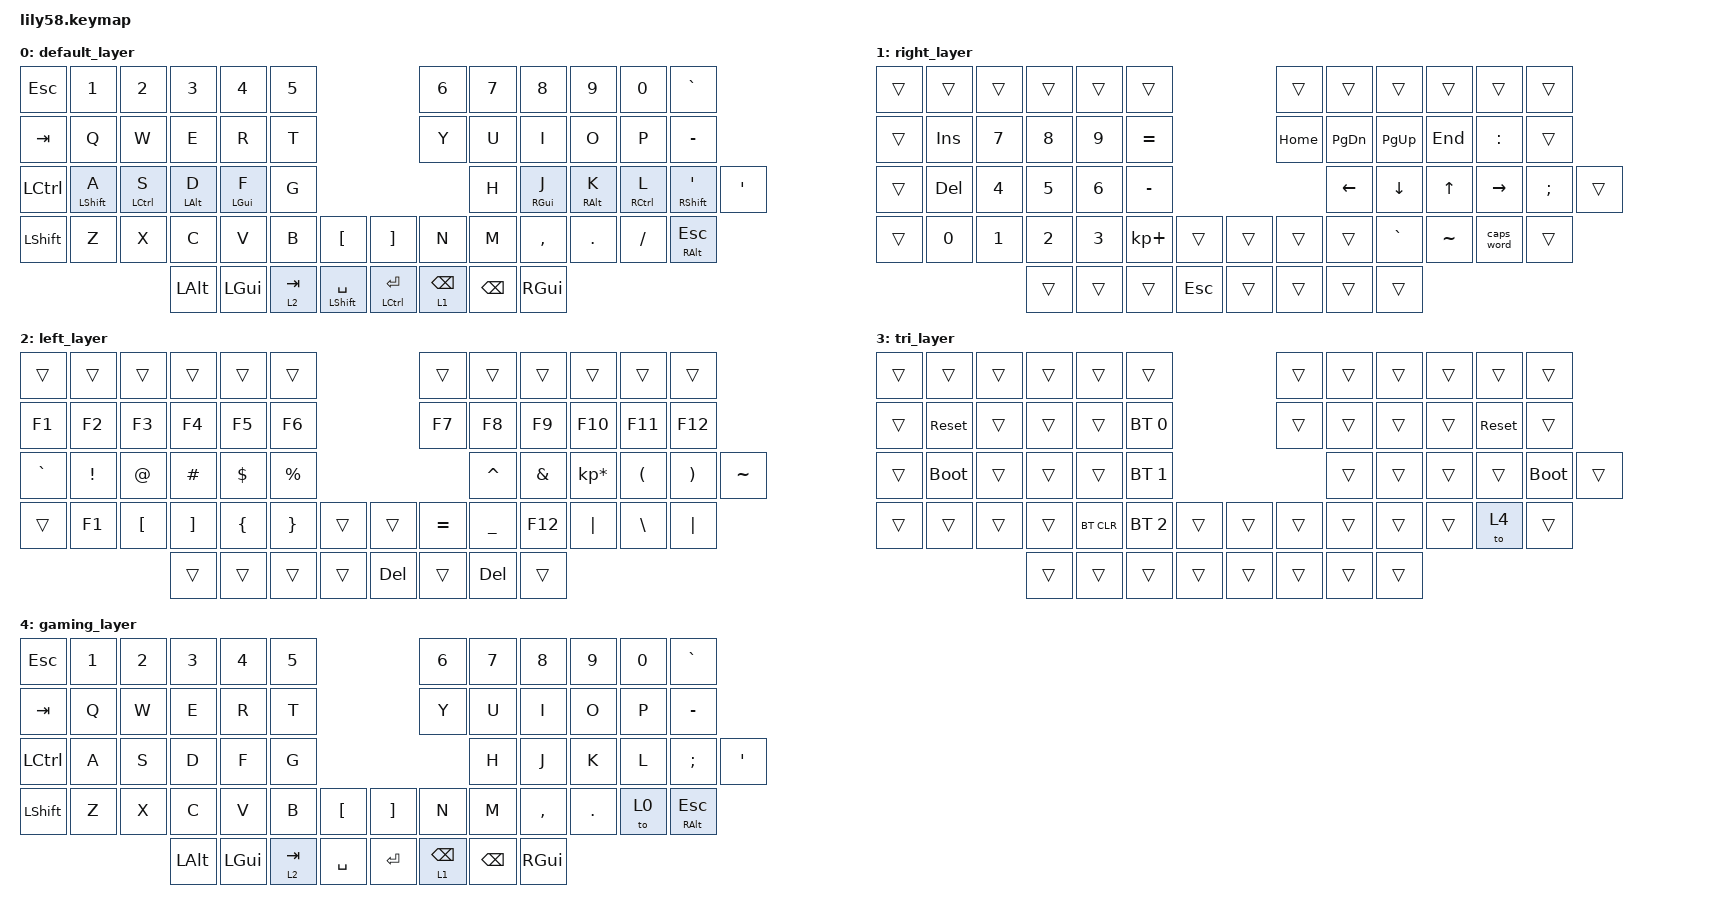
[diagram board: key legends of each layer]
/*
 * Copyright (c) 2020 The ZMK Contributors
 *
 * SPDX-License-Identifier: MIT
 */

#include <behaviors.dtsi>
#include <dt-bindings/zmk/keys.h>
#include <dt-bindings/zmk/bt.h>
//#include <dt-bindings/zmk/ext_power.h>

/ {
	behaviors {
        	ht: hold_tap {
            		compatible = "zmk,behavior-hold-tap";
            		#binding-cells = <2>;
            		flavor = "tap-preferred";
            		tapping-term-ms = <220>;
            		quick-tap-ms = <150>;
            		require-prior-idle-ms = <100>;
            		bindings = <&kp>, <&kp>;
        	};
    	};

	conditional_layers {
        	compatible = "zmk,conditional-layers";
        	tri_layer {
            		if-layers = <1 2>;
            		then-layer = <3>;
        	};
    	};

	keymap {
		compatible = "zmk,keymap";

		default_layer {
// ------------------------------------------------------------------------------------------------------------
// |  ESC  |  1  |  2  |  3   |  4   |  5      |                   |  6        |  7    |  8    |  9   |   0   |   `     |
// |  TAB  |  Q  |  W  |  E   |  R   |  T      |                   |  Y        |  U    |  I    |  O   |   P   |   -     |
// |  CTRL |  A  |  S  |  D   |  F   |  G      |                   |  H        |  J    |  K    |  L   |   ;   |  ' "    |
// | SHIFT |  Z  |  X  |  C   |  V   |  B      |   "["  |  |  "]"  |  N        |  M    | , <   | . >  |  / ?  | ESC/ALT |
//                     | ALT  | GUI  | LEFT/TAB|  SPACE |  | ENTER | RIGHT/BSPC| BSPC  | GUI   |
			bindings = <
&kp ESC   &kp N1 &kp N2 &kp N3   &kp N4   &kp N5                                     &kp N6      &kp N7   &kp N8    &kp N9  &kp N0   &kp GRAVE
&kp TAB   &kp Q  &kp W  &kp E    &kp R    &kp T                                      &kp Y       &kp U    &kp I     &kp O   &kp P    &kp MINUS
&kp LCTRL &ht LSHIFT A  &ht LCTRL S &ht LALT D &ht LGUI F &kp G                      &kp H       &ht RGUI J &ht RALT K &ht RCTRL L &ht RSHFT SQT &kp SQT
&kp LSHFT &kp Z  &kp X  &kp C    &kp V    &kp B      &kp LBKT         &kp RBKT       &kp N       &kp M    &kp COMMA &kp DOT &kp FSLH &ht RALT ESC
                        &kp LALT &kp LGUI &lt 2 TAB  &mt LSHFT SPACE  &mt LCTRL RET  &lt 1 BSPC  &kp BSPC &kp RGUI
			>;
		};

		right_layer {
// ------------------------------------------------------------------------------------------------------------
// |      |       |     |     |      |      |                   |      |       |       |      |       |       |
// |      |INSERT |  7  |  8  |  9   |  =   |                   | HOME | PG_UP | PG_DN | END  | :     |       |
// |      |DELETE |  4  |  5  |  6   |  -   |                   | <-   |   v   |  ^    |  ->  | ;     |       |
// |      |   0   |  1  |  2  |  3   |  +   |        |  |       |      |       |  `    |  ~   | CAPS  |       |
//                            |      |      |  ESC   |  |       |      |       |       |
                        bindings = <
&trans  &trans          &trans  &trans  &trans  &trans                          &trans      &trans    &trans    &trans     &trans     &trans
&trans  &kp INS         &kp N7  &kp N8  &kp N9  &kp EQUAL                       &kp HOME    &kp PG_DN &kp PG_UP &kp END    &kp COLON  &trans
&trans  &kp DEL         &kp N4  &kp N5  &kp N6  &kp MINUS                       &kp LEFT    &kp DOWN  &kp UP    &kp RIGHT  &kp SEMI   &trans
&trans  &kp N0          &kp N1  &kp N2  &kp N3  &kp KP_PLUS  &trans   &trans    &trans      &trans    &kp GRAVE &kp TILDE  &caps_word &trans
                                &trans  &trans  &trans       &kp ESC  &trans    &trans      &trans    &trans
                        >;
                };

		left_layer   {
// ------------------------------------------------------------------------------------------------------------
// |       |     |     |      |      |      |                   |      |       |       |      |       |       |
// |  F1   |  F2 |  F3 |  F4  |  F5  |  F6  |                   |  F7  |  F8   |  F9   |  F10 |  F11  |  F12  |
// |   `   |  !  |  @  |  #   |  $   |  %   |                   |  ^   |  &    |  *    |  (   |   )   |   ~   |
// |       |  F1 |  [  |  ]   |  {   |  }   |        |  |       |  =   |  _    |  F12  |  "|" |   \   |  "|"  |
//                     |      |      |      |        |  | DEL   |      |  DEL  |       |
                        bindings = <
&trans     &trans           &trans            &trans            &trans       &trans                       &trans    &trans    &trans          &trans    &trans    &trans
&kp F1     &kp F2           &kp F3            &kp F4            &kp F5       &kp F6                       &kp F7    &kp F8    &kp F9          &kp F10   &kp F11   &kp F12
&kp GRAVE  &kp EXCL         &kp AT            &kp HASH          &kp DOLLAR   &kp PRCNT                    &kp CARET &kp AMPS  &kp KP_MULTIPLY &kp LPAR  &kp RPAR  &kp TILDE
&trans     &kp F1           &kp LBKT          &kp RBKT          &kp LBRC     &kp RBRC  &trans   &trans    &kp EQUAL &kp UNDER &kp F12         &kp PIPE  &kp BSLH  &kp PIPE
                                              &trans            &trans       &trans    &trans   &kp DEL   &trans    &kp DEL    &trans
                        >;
                };

		tri_layer {
// ------------------------------------------------------------------------------------------------------------
// |      |            |     |     |          |           |                   |      |       |       |      |            |       |
// |      | RESET      |     |     |          | PROFILE 0 |                   |      |       |       |      | RESET      |       |
// |      | BOOTLOADER |     |     |          | PROFILE 1 |                   |      |       |       |      | BOOTLOADER |       |
// |      |            |     |     | CLEAR BT | PROFILE 2 |        |  |       |      |       |       |      | (4)        |       |
//                                 |          |           |        |  |       |      |       |       |
                        bindings = <
&trans  &trans          &trans &trans   &trans      &trans                           &trans      &trans    &trans    &trans     &trans        &trans
&trans  &sys_reset      &trans &trans   &trans      &bt BT_SEL 0                     &trans      &trans    &trans    &trans     &sys_reset    &trans
&trans  &bootloader     &trans &trans   &trans      &bt BT_SEL 1                     &trans      &trans    &trans    &trans     &bootloader   &trans
&trans  &trans          &trans &trans   &bt BT_CLR  &bt BT_SEL 2  &trans   &trans    &trans      &trans    &trans    &trans     &to 4         &trans
                        &trans &trans   &trans      &trans        &trans   &trans    &trans      &trans
                        >;
        	};

		gaming_layer {
// ------------------------------------------------------------------------------------------------------------
// |  ESC  |  1  |  2  |  3   |  4   |  5      |                   |  6        |  7    |  8    |  9   |   0   |   `     |
// |  TAB  |  Q  |  W  |  E   |  R   |  T      |                   |  Y        |  U    |  I    |  O   |   P   |   -     |
// |  CTRL |  A  |  S  |  D   |  F   |  G      |                   |  H        |  J    |  K    |  L   |   ;   |  ' "    |
// | SHIFT |  Z  |  X  |  C   |  V   |  B      |   "["  |  |  "]"  |  N        |  M    | , <   | . >  |  (0)  | ESC/ALT |
//                     | ALT  | GUI  | LEFT/TAB|  SPACE |  | ENTER | RIGHT/BSPC| BSPC  | GUI   |
			bindings = <
&kp ESC   &kp N1 &kp N2 &kp N3   &kp N4   &kp N5                                     &kp N6      &kp N7   &kp N8    &kp N9  &kp N0   &kp GRAVE
&kp TAB   &kp Q  &kp W  &kp E    &kp R    &kp T                                      &kp Y       &kp U    &kp I     &kp O   &kp P    &kp MINUS
&kp LCTRL &kp A  &kp S  &kp D    &kp F    &kp G                                      &kp H       &kp J    &kp K     &kp L   &kp SEMI &kp SQT
&kp LSHFT &kp Z  &kp X  &kp C    &kp V    &kp B      &kp LBKT         &kp RBKT       &kp N       &kp M    &kp COMMA &kp DOT &to 0    &ht RALT ESC
                        &kp LALT &kp LGUI &lt 2 TAB  &kp SPACE        &kp RET        &lt 1 BSPC  &kp BSPC &kp RGUI
			>;
		};
	};
};
